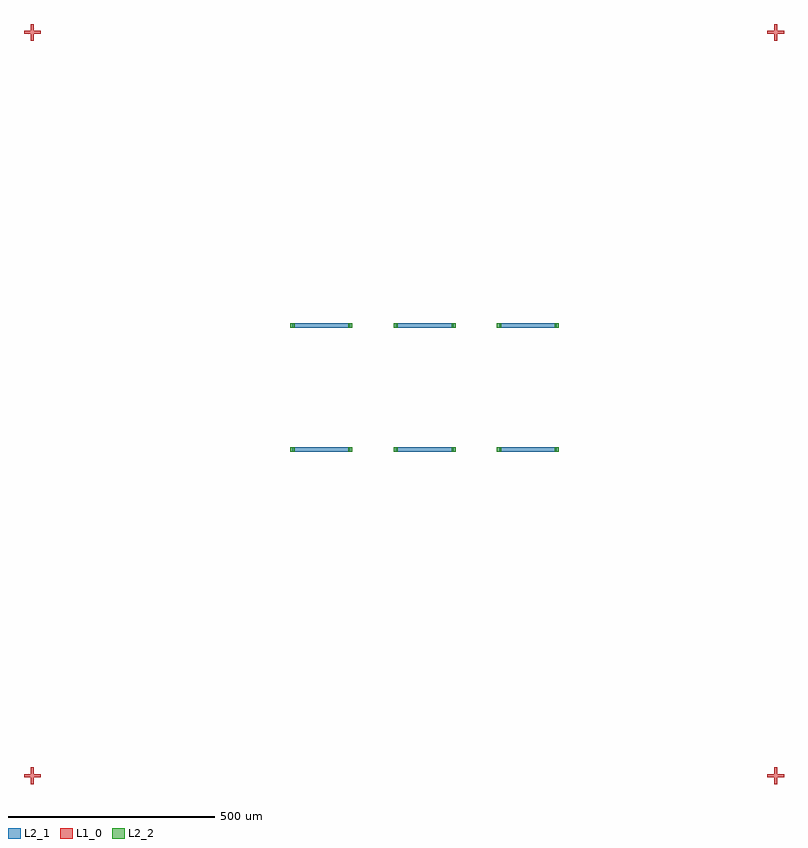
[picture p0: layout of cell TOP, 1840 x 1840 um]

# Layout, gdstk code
import gdstk
lib = gdstk.Library(unit=1e-6, precision=1e-09)
def R(c, l, rs):  # rectangles x0, y0, x1, y1
    for r in rs: c.add(gdstk.rectangle(r[:2], r[2:], *l))
def A(c, l, x, y, w, h, nx, ny, dx, dy):  # array of equal rectangles
    R(c, l, [(x+i*dx, y+j*dy, x+i*dx+w, y+j*dy+h) for i in range(nx) for j in range(ny)])
def P(c, l, *ps):  # polygons
    for p in ps: c.add(gdstk.Polygon(p, *l))
L1_0 = (1, 0)
L2_1 = (2, 1)
L2_2 = (2, 2)

top = lib.new_cell('TOP')
P(top, L1_0, [(96,120),(104,120),(104,104),(120,104),(120,96),(104,96),(104,80),(96,80),(96,96),(80,96),(80,104),(96,104)],
  [(1896,120),(1904,120),(1904,104),(1920,104),(1920,96),(1904,96),(1904,80),(1896,80),(1896,96),(1880,96),(1880,104),(1896,104)],
  [(96,1920),(104,1920),(104,1904),(120,1904),(120,1896),(104,1896),(104,1880),(96,1880),(96,1896),(80,1896),(80,1904),(96,1904)],
  [(1896,1920),(1904,1920),(1904,1904),(1920,1904),(1920,1896),(1904,1896),(1904,1880),(1896,1880),(1896,1896),(1880,1896),(1880,1904),(1896,1904)])
A(top, L2_1, 730, 885, 140, 10, 3, 2, 250, 300)
R(top, L2_2, [(725,885,735,895), (865,885,875,895), (975,885,985,895), (1115,885,1125,895), (1225,885,1235,895), (1365,885,1375,895), (725,1185,735,1195), (865,1185,875,1195), (975,1185,985,1195), (1115,1185,1125,1195), (1225,1185,1235,1195), (1365,1185,1375,1195)])

lib.write_gds('TOP.gds')
